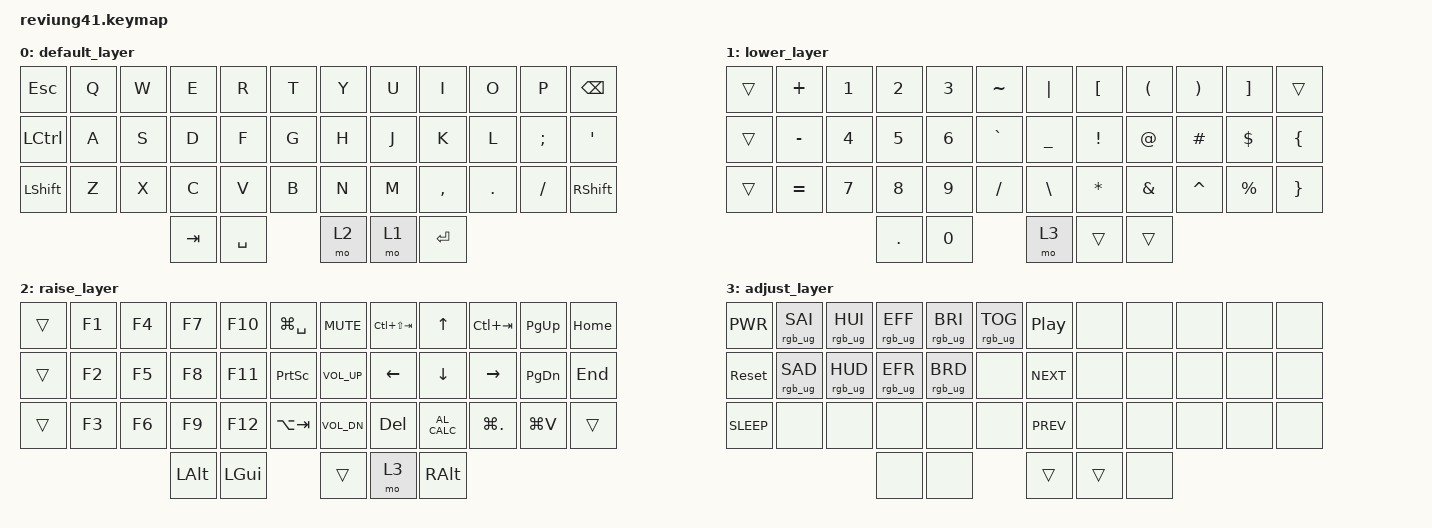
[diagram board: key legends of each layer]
/*
 * Copyright (c) 2020 The ZMK Contributors
 *
 * SPDX-License-Identifier: MIT
 */

#include <behaviors.dtsi>
#include <dt-bindings/zmk/keys.h>
// #include <dt-bindings/zmk/bt.h>
#include <dt-bindings/zmk/rgb.h>
// #include <dt-bindings/zmk/backlight.h>

// I don't fucken know where to put this
// &led_strip {
//     chain-length = <11>;
// };

/ {
        keymap {
                compatible = "zmk,keymap";

                default_layer {
// -------------------------------------------------------------------------------------
// |  ESC |  Q  |  W  |  E  |  R  |  T  |   |  Y  |  U   |  I  |  O  |  P  | BSPC |
// | CTRL |  A  |  S  |  D  |  F  |  G  |   |  H  |  J   |  K  |  L  |  ;  |  '   |
// | SHFT |  Z  |  X  |  C  |  V  |  B  |   |  N  |  M   |  ,  |  .  |  /  | SHFT |
//                         | TAB | SPC | LWR | RSE | ENT |
                        bindings = <
   &kp ESC   &kp Q &kp W &kp E &kp R &kp T   &kp Y &kp U  &kp I     &kp O   &kp P    &kp BSPC
   &kp LCTRL &kp A &kp S &kp D &kp F &kp G   &kp H &kp J  &kp K     &kp L   &kp SEMI &kp SQT
   &kp LSHFT &kp Z &kp X &kp C &kp V &kp B   &kp N &kp M  &kp COMMA &kp DOT &kp FSLH &kp RSHFT
                        &kp TAB  &kp SPACE &mo 2 &mo 1  &kp RET
                        >;
                };

                lower_layer {
// ------------------------------------------------------------------------------------
// |      |  +  |  1  |  2  |  3  |  ~  |   | "|" |  [  |  (  |  )  |  ]  |     |
// |      |  -  |  4  |  5  |  6  |  `  |   |  _  |  !  |  @  |  #  |  $  |  {  |
// | CAPS |  =  |  7  |  8  |  9  |  /  |   |  \  |  *  |  &  |  ^  |  %  |  }  |
//                         |  .  |  0  | ADJ |    |     |
                        bindings = <
   &trans &kp PLUS  &kp N1 &kp N2 &kp N3 &kp TILDE   &kp PIPE  &kp LBKT &kp LPAR &kp RPAR  &kp RBKT  &trans
   &trans &kp MINUS &kp N4 &kp N5 &kp N6 &kp GRAVE   &kp UNDER &kp EXCL &kp AT   &kp HASH  &kp DLLR  &kp LBRC
   &trans &kp EQUAL &kp N7 &kp N8 &kp N9 &kp FSLH    &kp BSLH  &kp STAR &kp AMPS &kp CARET &kp PRCNT &kp RBRC
                                  &kp DOT  &kp N0 &mo 3 &trans &trans
                        >;
                };

                raise_layer {
// ----------------------------------------------------------------------------
// |     | F1  | F4  | F7  | F10 | GUISPC |   | MUTE | LTAB |  UP  | RTAB | PGUP | HOME |
// |     | F2  | F5  | F8  | F11 | PRINT  |   | VOL+ | LEFT | DOWN | RGHT | PGDN | END  |
// |     | F3  | F6  | F9  | F12 | ALTTAB |   | VOL- | DEL  | CALC | WIN. | WINV |      |
//                           | ALT | GUI |     | ADJ | ALTGR |
                        bindings = <
   &trans &kp F1 &kp F4 &kp F7 &kp F10 &kp LG(SPACE)   &kp C_MUTE   &kp LC(LS(TAB)) &kp UP        &kp LC(TAB) &kp PG_UP &kp HOME
   &trans &kp F2 &kp F5 &kp F8 &kp F11 &kp PSCRN       &kp C_VOL_UP &kp LEFT        &kp DOWN      &kp RIGHT   &kp PG_DN &kp END
   &trans &kp F3 &kp F6 &kp F9 &kp F12 &kp LA(TAB)     &kp C_VOL_DN &kp DEL         &kp C_AL_CALC &kp LG(DOT) &kp LG(V) &trans
                                  &kp LALT &kp LGUI &trans &mo 3 &kp RALT
                        >;
                };

                adjust_layer {
// -----------------------------------------------------------------------------------------
// | POWER | RGB SAT+ | RGB HUE+ | RGB ANI+ | RGB BRI+ | RGB TOG |   | PLAY |     |     |     |     |     |
// | RESET | RGB SAT- | RGB HUE- | RGB ANI- | RGB BRI- |         |   | NEXT |     |     |     |     |     |
// | SLEEP |          |          |          |          |         |   | PREV |     |     |     |     |     |
//                                                  |     |     |     |     |     |
                        bindings = <
   &kp C_PWR   &rgb_ug RGB_SAI &rgb_ug RGB_HUI &rgb_ug RGB_EFF &rgb_ug RGB_BRI &rgb_ug RGB_TOG    &kp C_PP   &none &none &none &none &none
   &sys_reset  &rgb_ug RGB_SAD &rgb_ug RGB_HUD &rgb_ug RGB_EFR &rgb_ug RGB_BRD &none              &kp C_NEXT &none &none &none &none &none
   &kp C_SLEEP &none           &none           &none           &none           &none              &kp C_PREV &none &none &none &none &none
                                                                                  &none &none &trans &trans &none
                        >;
                };
        };
};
